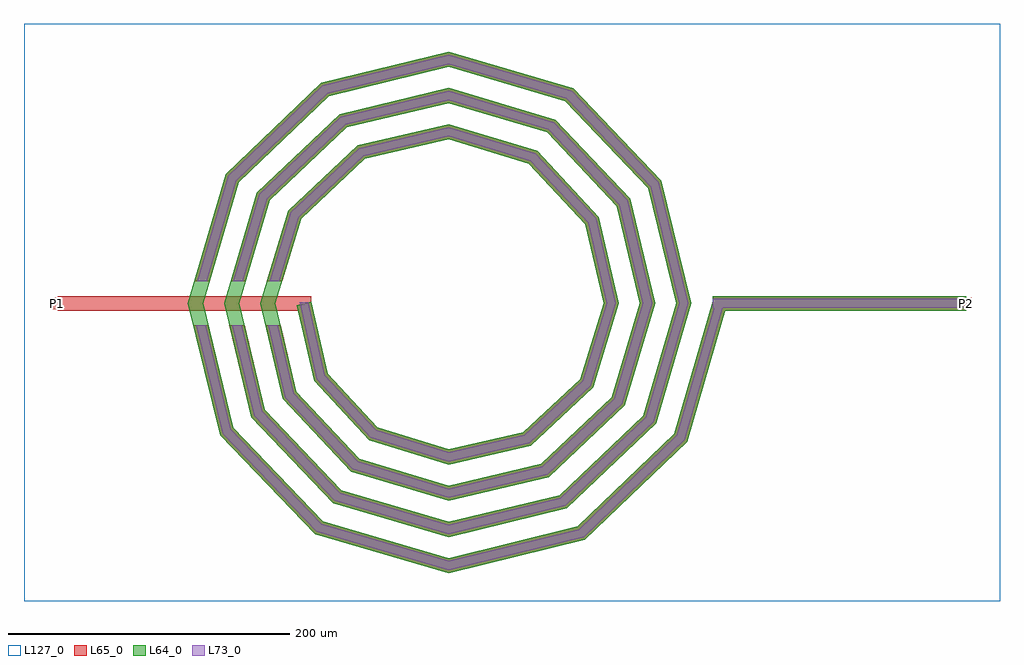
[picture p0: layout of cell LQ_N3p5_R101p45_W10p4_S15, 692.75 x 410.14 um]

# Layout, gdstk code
import gdstk
lib = gdstk.Library(unit=1e-6, precision=1e-09)
def R(c, l, rs):  # rectangles x0, y0, x1, y1
    for r in rs: c.add(gdstk.rectangle(r[:2], r[2:], *l))
def P(c, l, *ps):  # polygons
    for p in ps: c.add(gdstk.Polygon(p, *l))
L64_0 = (64, 0)
L65_0 = (65, 0)
L73_0 = (73, 0)
L127_0 = (127, 0)

lq_n3p5_r101p45_w10p4_s1 = lib.new_cell('LQ_N3p5_R101p45_W10p4_S15')
R(lq_n3p5_r101p45_w10p4_s1, L64_0, [(187.333,-5.2,367.333,5.2)])
P(lq_n3p5_r101p45_w10p4_s1, L64_0, [(-85.958,-49.865),(-50.583,-88.015),(0.197,-103.656),(53.066,-91.526),(93.572,-53.805),(110.078,0.186),(97.093,56.268),(57.025,99.129),(0.176,116.501),(-59.471,102.66),(-104.686,60.244),(-122.923,0.168),(-108.227,-62.675),(-63.462,-110.244),(0.16,-129.346),(65.88,-113.793),(115.802,-66.68),(135.769,0.152),(119.358,69.085),(69.897,121.361),(0.146,142.191),(-72.291,124.924),(-126.92,73.114),(-148.614,0.14),(-130.489,-75.497),(-76.33,-132.48),(0.134,-155.037),(78.703,-136.054),(138.039,-79.546),(161.459,0.129),(141.618,81.91),(82.762,143.599),(0.124,167.882),(-85.118,147.183),(-149.159,85.977),(-174.305,0.12),(-152.748,-88.325),(-89.192,-154.719),(0.116,-180.728),(91.533,-158.312),(160.279,-92.407),(187.539,1.45),(197.527,-1.45),(169.489,-97.985),(96.718,-167.749),(0.116,-191.492),(-94.777,-163.925),(-162.188,-93.503),(-185.07,0.12),(-158.36,91.569),(-90.288,156.628),(0.124,178.647),(88.362,152.796),(151.068,87.072),(172.224,0.129),(147.231,-85.155),(83.856,-145.508),(0.134,-165.801),(-81.948,-141.666),(-139.948,-80.64),(-159.378,0.14),(-136.1,78.741),(-77.424,134.389),(0.146,152.955),(75.535,130.535),(128.83,74.207),(146.532,0.152),(124.969,-72.329),(70.989,-123.271),(0.16,-140.109),(-69.124,-119.403),(-117.712,-67.771),(-133.686,0.168),(-113.836,65.92),(-64.552,112.154),(0.176,127.263),(62.716,108.269),(106.596,61.332),(120.84,0.186),(102.701,-59.514),(58.111,-101.039),(0.197,-114.417),(-56.312,-97.133),(-95.482,-54.89),(-107.684,-1.151),(-97.542,1.151)])
R(lq_n3p5_r101p45_w10p4_s1, L65_0, [(-277.413,-5.2,-97.413,5.2), (187.333,-5.2,367.333,5.2), (-281.413,-4,-273.413,4), (363.333,-4,371.333,4)])
P(lq_n3p5_r101p45_w10p4_s1, L65_0, [(-152.748,-88.325),(-89.192,-154.719),(0.116,-180.728),(91.533,-158.312),(160.28,-92.407),(187.539,1.45),(197.527,-1.45),(169.489,-97.985),(96.718,-167.749),(0.116,-191.493),(-94.777,-163.925),(-162.188,-93.503),(-181.228,-15.6),(-170.522,-15.6)],
  [(-130.489,-75.497),(-76.33,-132.48),(0.134,-155.037),(78.703,-136.054),(138.039,-79.546),(161.46,0.129),(141.619,81.91),(82.762,143.599),(0.124,167.882),(-85.118,147.183),(-149.159,85.977),(-169.714,15.6),(-180.548,15.6),(-158.36,91.569),(-90.288,156.628),(0.124,178.647),(88.362,152.796),(151.068,87.072),(172.224,0.129),(147.231,-85.155),(83.856,-145.508),(0.134,-165.801),(-81.948,-141.666),(-139.948,-80.64),(-155.592,-15.6),(-144.896,-15.6)],
  [(-108.227,-62.675),(-63.462,-110.244),(0.16,-129.346),(65.88,-113.793),(115.803,-66.68),(135.769,0.152),(119.358,69.085),(69.897,121.361),(0.146,142.191),(-72.291,124.924),(-126.92,73.114),(-143.953,15.6),(-154.799,15.6),(-136.1,78.741),(-77.424,134.389),(0.146,152.955),(75.535,130.535),(128.83,74.207),(146.532,0.152),(124.969,-72.329),(70.989,-123.271),(0.16,-140.109),(-69.124,-119.403),(-117.712,-67.771),(-129.979,-15.6),(-119.295,-15.6)],
  [(-50.583,-88.015),(0.197,-103.656),(53.066,-91.526),(93.572,-53.805),(110.078,0.186),(97.093,56.268),(57.025,99.129),(0.176,116.501),(-59.471,102.66),(-104.686,60.244),(-118.164,15.6),(-129.027,15.6),(-113.836,65.92),(-64.552,112.154),(0.176,127.263),(62.716,108.269),(106.596,61.332),(120.84,0.186),(102.701,-59.514),(58.111,-101.039),(0.197,-114.417),(-56.312,-97.133),(-95.482,-54.89),(-107.684,-1.152),(-97.543,1.152),(-85.958,-49.865)])
R(lq_n3p5_r101p45_w10p4_s1, L73_0, [(187.333,-3.2,367.333,3.2)])
P(lq_n3p5_r101p45_w10p4_s1, L73_0, [(-154.563,-89.321),(-90.266,-156.49),(0.071,-182.798),(92.53,-160.127),(162.051,-93.48),(189.46,0.893),(195.606,0.893),(167.718,-96.912),(95.721,-165.934),(0.071,-189.422),(-93.703,-162.155),(-160.373,-92.507),(-179.169,-15.6),(-172.581,-15.6)],
  [(-132.308,-76.486),(-77.411,-134.246),(0.083,-157.107),(79.694,-137.872),(139.807,-80.625),(163.53,0.079),(143.436,82.903),(83.839,145.368),(0.076,169.952),(-86.112,148.999),(-150.929,87.053),(-171.797,15.6),(-178.465,15.6),(-156.591,90.494),(-89.293,154.812),(0.076,176.577),(87.285,151.027),(149.251,86.08),(170.154,0.079),(145.463,-84.076),(82.865,-143.69),(0.083,-163.731),(-80.867,-139.899),(-138.129,-79.651),(-153.535,-15.6),(-146.953,-15.6)],
  [(-110.051,-63.655),(-64.551,-112.005),(0.098,-131.416),(66.862,-115.615),(117.565,-67.766),(137.839,0.094),(121.18,70.07),(70.981,123.125),(0.09,144.261),(-73.278,126.744),(-128.686,74.196),(-146.039,15.6),(-152.714,15.6),(-134.335,77.659),(-76.437,132.569),(0.09,150.885),(74.451,128.771),(127.008,73.222),(144.462,0.094),(123.206,-71.243),(70.006,-121.448),(0.098,-138.039),(-68.036,-117.641),(-115.888,-66.791),(-127.924,-15.6),(-121.35,-15.6)],
  [(-51.685,-89.769),(0.121,-105.725),(54.036,-93.355),(95.327,-54.902),(112.148,0.115),(98.921,57.242),(58.119,100.886),(0.109,118.571),(-60.448,104.486),(-106.446,61.335),(-120.253,15.6),(-126.938,15.6),(-112.076,64.828),(-63.575,110.328),(0.109,125.193),(61.622,106.511),(104.769,60.358),(118.77,0.115),(100.946,-58.416),(57.141,-99.209),(0.121,-112.347),(-55.21,-95.38),(-93.65,-53.923),(-105.734,0.709),(-99.493,0.709),(-87.79,-50.831)])
R(lq_n3p5_r101p45_w10p4_s1, L127_0, [(-301.413,-211.493,391.333,198.647)])
lq_n3p5_r101p45_w10p4_s1.add(gdstk.Label('P2', (367.333,0), layer=65, texttype=0))
lq_n3p5_r101p45_w10p4_s1.add(gdstk.Label('P1', (-277.413,0), layer=65, texttype=0))
lq_n3p5_r101p45_w10p4_s1.add(gdstk.Label('P2', (371.333,0), layer=145, texttype=0))
lq_n3p5_r101p45_w10p4_s1.add(gdstk.Label('P1', (-281.413,0), layer=145, texttype=0))

lib.write_gds('LQ_N3p5_R101p45_W10p4_S15.gds')
